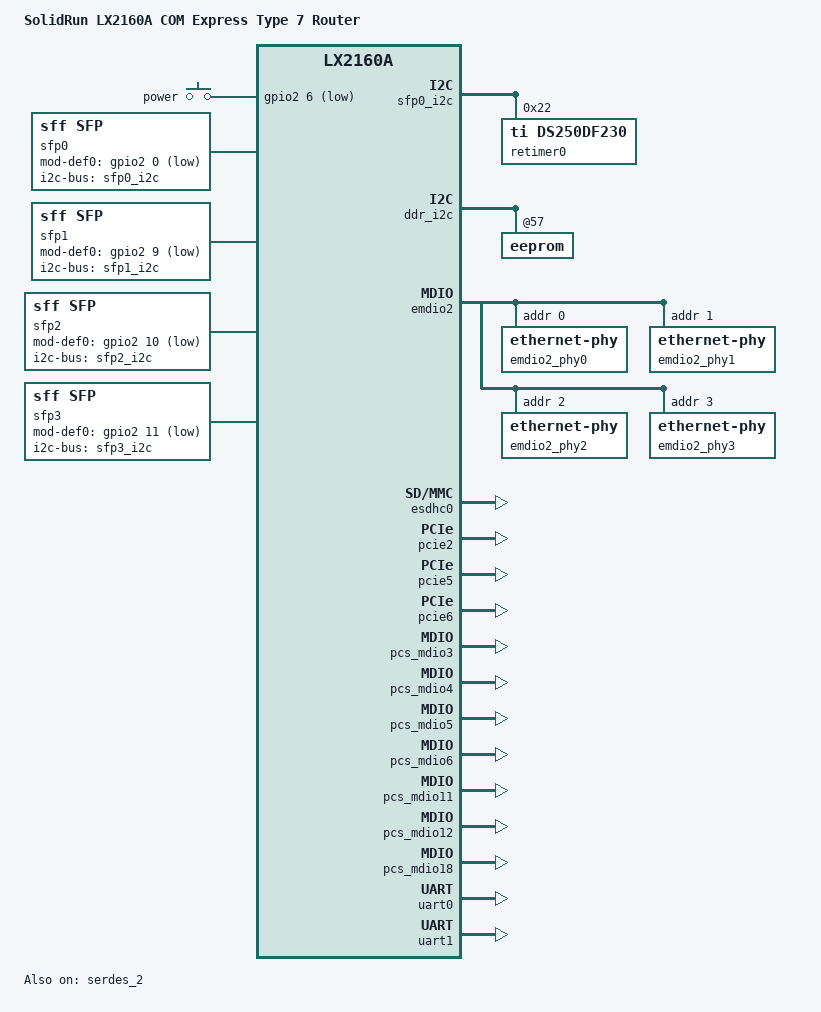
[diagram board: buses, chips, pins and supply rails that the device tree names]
// SPDX-License-Identifier: (GPL-2.0 OR MIT)
//
// Device Tree file for LX2160A COM Express Type 7 Router carrier board
//
// Copyright 2026 SolidRun Ltd.

/dts-v1/;

#include <dt-bindings/gpio/gpio.h>
#include <dt-bindings/input/linux-event-codes.h>

#include "fsl-lx2160a-rev2.dtsi"
#include "fsl-lx2160a-cex7.dtsi"

/ {
	model = "SolidRun LX2160A COM Express Type 7 Router";
	compatible = "solidrun,router", "solidrun,lx2160a-cex7", "fsl,lx2160a";

	aliases {
		mmc0 = &esdhc0;
		mmc1 = &esdhc1;
		serial0 = &uart0;
		serial1 = &uart1;
	};

	chosen {
		stdout-path = "serial0:115200n8";
	};

	gpio-keys {
		compatible = "gpio-keys";

		key {
			label = "power";
			linux,can-disable;
			linux,code = <KEY_POWER>;
			gpios = <&gpio2 6 GPIO_ACTIVE_LOW>;
		};
	};

	sfp0: sfp-0 {
		compatible = "sff,sfp";
		i2c-bus = <&sfp0_i2c>;
		mod-def0-gpios = <&gpio2 0 GPIO_ACTIVE_LOW>;
		maximum-power-milliwatt = <2000>;
	};

	sfp1: sfp-1 {
		compatible = "sff,sfp";
		i2c-bus = <&sfp1_i2c>;
		mod-def0-gpios = <&gpio2 9 GPIO_ACTIVE_LOW>;
		maximum-power-milliwatt = <2000>;
	};

	sfp2: sfp-2 {
		compatible = "sff,sfp";
		i2c-bus = <&sfp2_i2c>;
		mod-def0-gpios = <&gpio2 10 GPIO_ACTIVE_LOW>;
		maximum-power-milliwatt = <2000>;
	};

	sfp3: sfp-3 {
		compatible = "sff,sfp";
		i2c-bus = <&sfp3_i2c>;
		mod-def0-gpios = <&gpio2 11 GPIO_ACTIVE_LOW>;
		maximum-power-milliwatt = <2000>;
	};
};

&sfp0_i2c {
	retimer0: retimer@22 {
		compatible = "ti,ds250df230";
		reg = <0x22>;
		#phy-cells = <1>;
		ti,crosspoint-enable;
		/* CAL_CLK_IN frequency, the DS250DF230 rate table assumes 30.72 MHz */
		ti,cal-clock-frequency = <25000000>;
	};
};

/*
 * MAC addresses: Linux reads them from the ONIE TlvInfo EEPROM on the module
 * (0x57, written with tlvtool) via the nvmem layout below. Every dpmac takes
 * "Base MAC Address" + index, so the TLV "MAC Addresses" count must be at
 * least 8. Index map (ascending dpmac number):
 *   0 dpmac3 (SFP0)   1 dpmac4 (SFP1)   2 dpmac5 (SFP2)    3 dpmac6 (SFP3)
 *   4 dpmac11 (Port 5) 5 dpmac12 (Port 3) 6 dpmac17 (AR8035) 7 dpmac18 (Port 1)
 */
&ddr_i2c {
	eeprom@57 {
		nvmem-layout {
			compatible = "onie,tlv-layout";

			base_mac: mac-address {
				#nvmem-cell-cells = <1>;
			};
		};
	};
};

&dpmac17 {
	nvmem-cells = <&base_mac 6>;
	nvmem-cell-names = "mac-address";
};

/*
 * SFP+ ports are wired to physical SerDes 1 lanes 0-3 (SD1_TX/RX0..3 pins).
 * On LX2160A SerDes 1 the register lane letters are reversed with respect to
 * the physical lane numbers (physical lane 0 = lane H = lynx-28g index 7), see
 * the SerDes 1 protocol table in the RM. With SRDS_PRTCL_S1 = 3, 8 or 21 the
 * physical lanes 0-3 carry XFI.3-6 (or 25GE.3-6 with 21), i.e. WRIOP MACs 3-6.
 */

/* SFP0: physical SerDes 1 lane 0 (lane H) -> DS250DF230 (crosspoint) -> SFP */
&dpmac3 {
	nvmem-cells = <&base_mac 0>;
	nvmem-cell-names = "mac-address";
	sfp = <&sfp0>;
	managed = "in-band-status";
	phys = <&serdes_1 7>, <&retimer0 0>, <&retimer0 1>;
	phy-names = "serdes", "retimer-ch0", "retimer-ch1";
};

/* SFP1: physical SerDes 1 lane 1 (lane G) */
&dpmac4 {
	nvmem-cells = <&base_mac 1>;
	nvmem-cell-names = "mac-address";
	sfp = <&sfp1>;
	managed = "in-band-status";
	phys = <&serdes_1 6>;
};

/* SFP2: physical SerDes 1 lane 2 (lane F) */
&dpmac5 {
	nvmem-cells = <&base_mac 2>;
	nvmem-cell-names = "mac-address";
	sfp = <&sfp2>;
	managed = "in-band-status";
	phys = <&serdes_1 5>;
};

/* SFP3: physical SerDes 1 lane 3 (lane E) */
&dpmac6 {
	nvmem-cells = <&base_mac 3>;
	nvmem-cell-names = "mac-address";
	sfp = <&sfp3>;
	managed = "in-band-status";
	phys = <&serdes_1 4>;
};

/* Port 5: SerDes 2 lane 0 -> DP83867 Mode 4 (PHY addr 3) */
&dpmac11 {
	nvmem-cells = <&base_mac 4>;
	nvmem-cell-names = "mac-address";
	phys = <&serdes_2 0>;
	phy-handle = <&emdio2_phy3>;
	phy-connection-type = "sgmii";
};

/* Port 3: SerDes 2 lane 1 -> DP83867 Mode 3 (PHY addr 2) */
&dpmac12 {
	nvmem-cells = <&base_mac 5>;
	nvmem-cell-names = "mac-address";
	phys = <&serdes_2 1>;
	phy-handle = <&emdio2_phy2>;
	phy-connection-type = "sgmii";
};

/* Port 1: SerDes 2 lane 3 -> DP83867 Mode 1 (PHY addr 0) */
&dpmac18 {
	nvmem-cells = <&base_mac 7>;
	nvmem-cell-names = "mac-address";
	phys = <&serdes_2 3>;
	phy-handle = <&emdio2_phy0>;
	phy-connection-type = "sgmii";
};

&emdio2 {
	status = "okay";

	/* Port 1: SerDes 2 lane 3, RX_D0 Mode 1 -> PHY address 0 */
	emdio2_phy0: ethernet-phy@0 {
		reg = <0>;
		ti,dp83867-rxctrl-strap-quirk;
		enet-phy-lane-swap;
		ti,ledcr1 = <0x0011>;
		ti,ledcr2 = <0x0000>;
	};

	/* Port 2: SerDes 2 lane 2, RX_D0 Mode 2 -> PHY address 1 */
	emdio2_phy1: ethernet-phy@1 {
		reg = <1>;
		ti,dp83867-rxctrl-strap-quirk;
		enet-phy-lane-swap;
		ti,ledcr1 = <0x0011>;
		ti,ledcr2 = <0x0000>;
	};

	/* Port 3: SerDes 2 lane 1, RX_D0 Mode 3 -> PHY address 2 */
	emdio2_phy2: ethernet-phy@2 {
		reg = <2>;
		ti,dp83867-rxctrl-strap-quirk;
		enet-phy-lane-swap;
		ti,ledcr1 = <0x0011>;
		ti,ledcr2 = <0x0000>;
	};

	/* Port 5: SerDes 2 lane 0, RX_D0 Mode 4 -> PHY address 3 */
	emdio2_phy3: ethernet-phy@3 {
		reg = <3>;
		ti,dp83867-rxctrl-strap-quirk;
		enet-phy-lane-swap;
		ti,ledcr1 = <0x0011>;
		ti,ledcr2 = <0x0000>;
	};
};

&esdhc0 {
	pinctrl-names = "default";
	pinctrl-0 = <&esdhc0_cd_wp_pins>, <&esdhc0_cmd_data30_clk_vsel_pins>;
	sd-uhs-sdr104;
	sd-uhs-sdr50;
	sd-uhs-sdr25;
	sd-uhs-sdr12;
	status = "okay";
};

/*
 * SerDes 1 lanes 4-7: PCIe 3.0 (PCIe 16:19 pins on COM7)
 * - SRDS_PRTCL_S1 = 3:  x4 (lanes 4-7)
 * - SRDS_PRTCL_S1 = 21: x2 (lanes 4-5; lanes 6-7 are 25GE.9/10, TX disabled by the RCW PBI)
 * - SRDS_PRTCL_S1 = 8:  not available, the lanes are XFI.7-10
 */
&pcie2 {
	status = "okay";
};

/* SerDes 3 lanes 0-7: 2x PCIe 3.0 x4 (PCIe 8:15 pins on COM7) */
&pcie5 {
	status = "okay";
};

&pcie6 {
	status = "okay";
};

&pcs_mdio3 {
	status = "okay";
};

&pcs_mdio4 {
	status = "okay";
};

&pcs_mdio5 {
	status = "okay";
};

&pcs_mdio6 {
	status = "okay";
};

&pcs_mdio11 {
	status = "okay";
};

&pcs_mdio12 {
	status = "okay";
};

&pcs_mdio18 {
	status = "okay";
};

&rgmii_phy1 {
	/*
	 * Carrier LEDs are active low: GBE0_ACT# <- LED_ACT, GBE0_LINK# <-
	 * LED_10_100. LED_ACT is strapped active high (PHY address 1), so the
	 * AR8035 "link + blink" ACT mode shows as dark-when-idle with flashes
	 * on activity. Manual LED override (reg 0x19):
	 *   link up:   0x10c0 = ACT link/activity mode, LED_10_100 forced on
	 *   link down: 0x0083 = ACT forced inactive,    LED_10_100 forced off
	 */
	qca,led-override-link-up = <0x10c0>;
	qca,led-override-link-down = <0x0083>;
};

&serdes_1 {
	/*
	 * RX pairs of physical lanes 0-2 (SFP0-2) are swapped on the PCB.
	 * Physical lanes 0,1,2 = lynx-28g lanes 7,6,5 (H,G,F).
	 */
	fsl,rx-invert-lane-mask = <0xe0>;
};

&serdes_2 {
	status = "okay";
};

&uart0 {
	status = "okay";
};

&uart1 {
	status = "okay";
};
